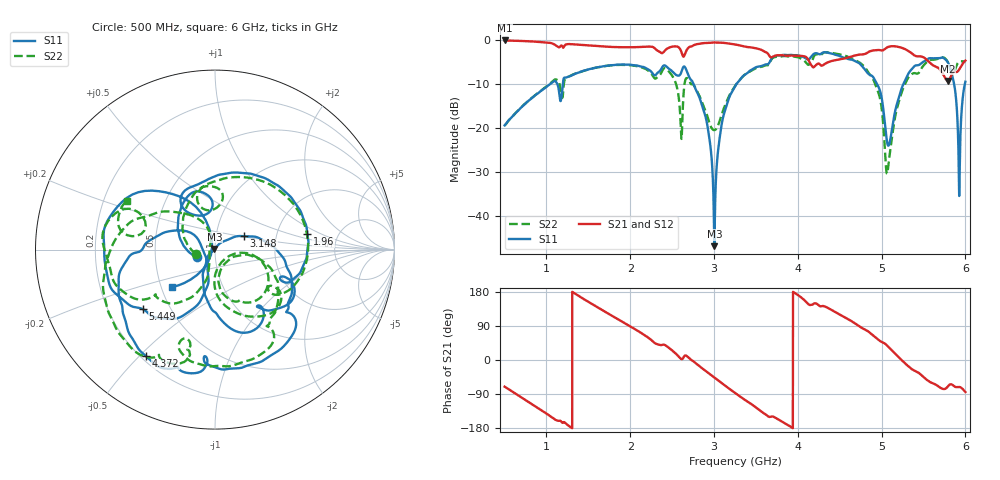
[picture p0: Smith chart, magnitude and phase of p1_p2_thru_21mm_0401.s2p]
# Hz S DB R 50
! CMT, C2409, 19096212, 19.2.3/2
! Date: 4/1/2022 3:27:20 AM
! Data: Format (Calibration Info)
! Freq	S11:dB/Ang(F2)	S21:dB/Ang(F2)	S12:dB/Ang(F2)	S22:dB/Ang(F2)
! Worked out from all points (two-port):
!   5001 points, 500 MHz to 6 GHz, reference 50 ohm
!   highest |S21| = -0.15 dB at 501 MHz (marker M1); lowest = -9.3 dB at 5.789 GHz (marker M2)
!   |S21| within 3 dB of the highest: start of sweep to 2.617 GHz; 2.655 GHz to 3.643 GHz (988.3 MHz wide, 31.4 % of centre)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
!   lowest |S11| = -46.8 dB at 3.004 GHz (marker M3), VSWR 1.01, Z = 49.7 + j0.351 ohm
!   |S11| at or under -10 dB: start of sweep to 1.046 GHz; 2.754 GHz to 3.268 GHz (514.1 MHz wide, 17.1 % of centre); 4.944 GHz to 5.261 GHz (317.2 MHz wide, 6.22 % of centre)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
!   |S22| runs from -30.4 to -2.8 dB; largest |S21 - S12| = 0.006
!   S11 on the Smith chart (normalised r, x): 500 MHz: 0.82, -0.07; 1.96 GHz: 3.00, +0.70; 3.148 GHz: 1.37, +0.21; 4.372 GHz: 0.22, -0.52; 5.449 GHz: 0.35, -0.32; 6 GHz: 0.54, -0.26
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5e8  -19.40 -156.8  -0.15 -70.3  -0.16 -70.3  -19.45 -167.7
5.00995e8  -19.37 -157.0  -0.15 -70.5  -0.16 -70.4  -19.43 -167.9
1.014661e9  -10.44 128.8  -0.63 -143.6  -0.65 -143.6  -10.37 118.1
1.416977e9  -7.19 78.3  -1.17 164.5  -1.19 164.5  -7.19 67.1
1.960216e9  -5.65 9.4  -1.69 93.8  -1.71 94.0  -5.71 -0.6
2.333793e9  -7.35 -21.5  -2.54 40.9  -2.55 41.0  -8.28 -32.5
2.501955e9  -7.16 -50.2  -1.55 24.9  -1.54 25.0  -8.18 -68.3
2.602139e9  -7.67 -50.9  -2.36 3.3  -2.34 3.4  -19.43 -82.9
2.759302e9  -10.24 -96.1  -1.20 -4.6  -1.19 -4.6  -10.32 -70.4
2.910005e9  -18.37 -119.1  -0.71 -30.6  -0.71 -30.7  -16.77 -81.0
3.00405e9  -46.77 129.7  -0.62 -46.2  -0.62 -46.1  -20.49 -46.1
3.147718e9  -14.98 24.8  -0.77 -70.3  -0.78 -70.2  -14.09 -9.3
3.251061e9  -10.51 6.9  -1.07 -86.9  -1.08 -86.8  -10.45 -16.1
3.599744e9  -5.67 -38.1  -2.66 -141.3  -2.66 -141.0  -5.87 -53.3
4.168149e9  -3.64 -94.9  -5.86 145.7  -5.81 146.0  -4.77 -105.3
4.371833e9  -3.00 -122.9  -5.00 135.9  -4.93 136.0  -2.93 -134.0
4.860005e9  -7.95 178.7  -2.61 71.8  -2.57 71.7  -7.89 151.1
5.084846e9  -23.92 -149.0  -1.57 33.9  -1.57 33.8  -27.82 -139.8
5.448526e9  -5.67 -140.3  -3.72 -34.8  -3.70 -34.7  -7.39 -142.8
5.7891e9  -5.06 147.3  -9.31 -70.2  -9.26 -70.3  -5.02 156.5
5.899468e9  -16.14 106.7  -7.28 -71.5  -7.29 -71.7  -5.60 169.4
6e9  -9.50 -141.1  -4.72 -84.5  -4.73 -84.3  -5.07 150.2
